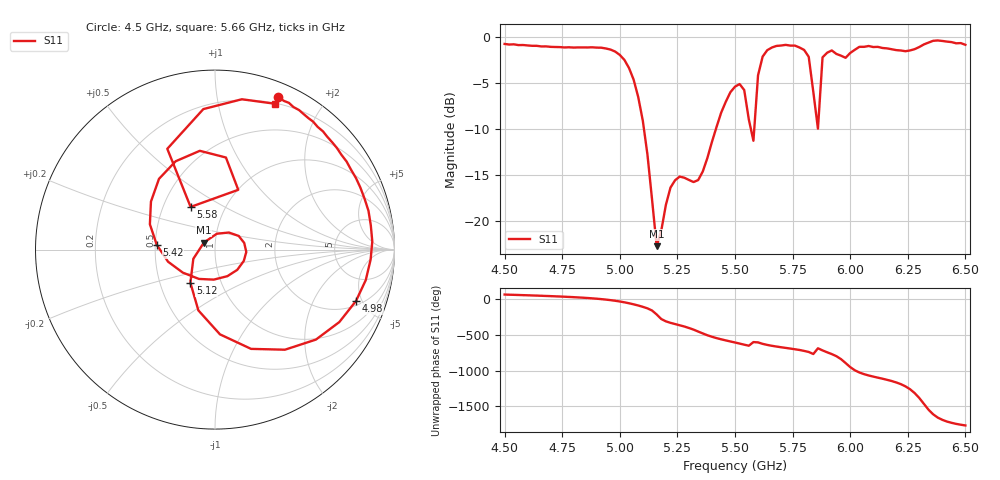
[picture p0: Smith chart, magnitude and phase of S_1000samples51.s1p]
! TOUCHSTONE file generated by CST MICROWAVE STUDIO
! Date and time: Wed Oct 26 20:03:36 2022
! Project name: L.cst
! Parameters = {Di=1.27; Epsilon_r=1.56; InnerDiameter=1.27; Length=2; Lf=10; Lg=60; OuterConductorThickness=0.2921; OuterDiameter=3.6; Wf=3; Wp=41.2; de=1.5; df=6.8; g=0.8; gx=3.85838; gy=0.7171; h=2.34; hf=1.524; px=8.95087; py=13.8044; w=9.7; wx=5.09249; wy=13.0873}
! Header version: 2018
! Port assignment regex: !\s*Touchstone port\s*([0-9]+)\s*=\s*(CST MWS port|CST DS port)\s*([0-9]+|Zmin|Zmax)\s*\(\"(.*)\"\)(\s*mode\s*([0-9]+))?.*
! Touchstone port assignment:
! Touchstone port 1 = CST MWS port 1 ("")
# GHz S DB R 50
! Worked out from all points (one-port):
!   101 points, 4.5 GHz to 6.5 GHz, reference 50 ohm
!   lowest |S11| = -22.7 dB at 5.16 GHz (marker M1), VSWR 1.16, Z = 44.1 + j3.49 ohm
!   |S11| at or under -10 dB: 5.105 GHz to 5.417 GHz (311.9 MHz wide, 5.93 % of centre); 5.569192 GHz to 5.583514 GHz (14.32 MHz wide, 0.257 % of centre)
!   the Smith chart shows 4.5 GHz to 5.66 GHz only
!   S11 on the Smith chart (normalised r, x): 4.5 GHz: 0.14, +1.49; 4.98 GHz: 2.35, -4.47; 5.12 GHz: 0.71, -0.28; 5.42 GHz: 0.51, +0.03; 5.58 GHz: 0.69, +0.35; 5.66 GHz: 0.21, +1.48
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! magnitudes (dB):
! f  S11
! 4.5 GHz  -0.7
! 4.76 GHz  -1.1
! 4.98 GHz  -1.6
! 5 GHz  -1.9
! 5.06 GHz  -4.6
! 5.1 GHz  -9.1
! 5.12 GHz  -12.8
! 5.16 GHz  -22.7
! 5.22 GHz  -16.3
! 5.26 GHz  -15.1
! 5.34 GHz  -15.5
! 5.42 GHz  -9.7
! 5.5 GHz  -5.4
! 5.54 GHz  -5.7
! 5.58 GHz  -11.3
! 5.6 GHz  -4.1
! 5.62 GHz  -2.1
! 5.66 GHz  -1.1
! 5.76 GHz  -0.9
! 5.82 GHz  -2.1
! 5.86 GHz  -9.9
! 5.88 GHz  -2.2
! 5.92 GHz  -1.4
! 6 GHz  -1.7
! 6.08 GHz  -0.9
! 6.26 GHz  -1.4
! 6.36 GHz  -0.4
! 6.5 GHz  -0.8
